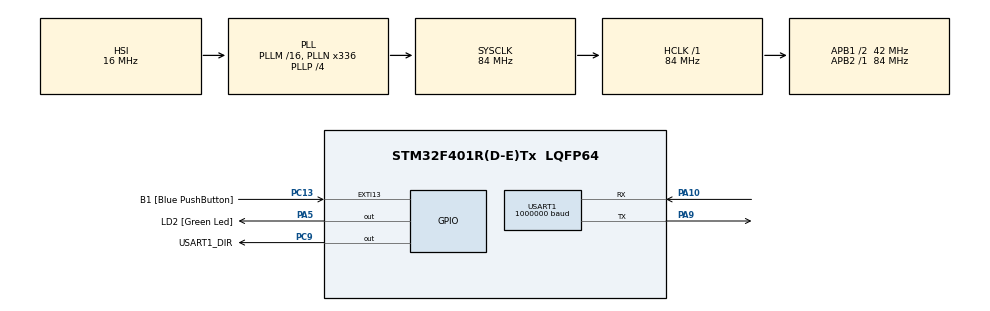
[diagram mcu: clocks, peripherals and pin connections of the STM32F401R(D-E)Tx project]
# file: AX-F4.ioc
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Mcu.Family=STM32F4
Mcu.Name=STM32F401R(D-E)Tx
Mcu.Package=LQFP64
NVIC.PriorityGroup=NVIC_PRIORITYGROUP_0
PA10.Mode=Asynchronous
PA10.Signal=USART1_RX
PA13.GPIO_Label=TMS
PA13.Signal=SYS_JTMS-SWDIO
PA14.GPIO_Label=TCK
PA14.Signal=SYS_JTCK-SWCLK
PA2.GPIO_Label=USART_TX
PA2.GPIO_Mode=GPIO_MODE_AF_PP
PA2.GPIO_PuPd=GPIO_NOPULL
PA2.GPIO_Speed=GPIO_SPEED_FREQ_LOW
PA2.Signal=USART2_TX
PA3.GPIO_Label=USART_RX
PA3.GPIO_Mode=GPIO_MODE_AF_PP
PA3.GPIO_PuPd=GPIO_NOPULL
PA3.GPIO_Speed=GPIO_SPEED_FREQ_LOW
PA3.Signal=USART2_RX
PA5.GPIO_Label=LD2 [Green Led]
PA5.GPIO_Mode=GPIO_MODE_OUTPUT_PP
PA5.GPIO_PuPd=GPIO_NOPULL
PA5.GPIO_Speed=GPIO_SPEED_FREQ_LOW
PA5.Signal=GPIO_Output
PA9.Mode=Asynchronous
PA9.Signal=USART1_TX
PB3.GPIO_Label=SWO
PB3.Signal=SYS_JTDO-SWO
PC13-ANTI_TAMP.GPIO_Label=B1 [Blue PushButton]
PC13-ANTI_TAMP.GPIO_ModeDefaultEXTI=GPIO_MODE_IT_FALLING
PC13-ANTI_TAMP.GPIO_PuPd=GPIO_NOPULL
PC13-ANTI_TAMP.Signal=GPXTI13
PC14-OSC32_IN.Signal=RCC_OSC32_IN
PC15-OSC32_OUT.Signal=RCC_OSC32_OUT
PC9.GPIO_Label=USART1_DIR
PC9.Signal=GPIO_Output
PH0\ -\ OSC_IN.Signal=RCC_OSC_IN
PH1\ -\ OSC_OUT.Signal=RCC_OSC_OUT
ProjectManager.HeapSize=0x200
ProjectManager.StackSize=0x400
ProjectManager.TargetToolchain=Makefile
RCC.AHBFreq_Value=84000000
RCC.APB1CLKDivider=RCC_HCLK_DIV2
RCC.APB1Freq_Value=42000000
RCC.APB1TimFreq_Value=84000000
RCC.APB2Freq_Value=84000000
RCC.APB2TimFreq_Value=84000000
RCC.CortexFreq_Value=84000000
RCC.HCLKFreq_Value=84000000
RCC.HSE_VALUE=8000000
RCC.HSI_VALUE=16000000
RCC.LSE_VALUE=32768
RCC.PLLN=336
RCC.PLLP=RCC_PLLP_DIV4
RCC.PLLQ=7
RCC.SYSCLKFreq_VALUE=84000000
RCC.SYSCLKSource=RCC_SYSCLKSOURCE_PLLCLK
RCC.VCOOutputFreq_Value=336000000
USART1.BaudRate=1000000
USART1.VirtualMode=VM_ASYNC
board=NUCLEO-F401RE

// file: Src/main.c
/**
  ******************************************************************************
  * File Name          : main.c
  * Description        : Main program body
  ******************************************************************************
  ** This notice applies to any and all portions of this file
  * that are not between comment pairs USER CODE BEGIN and
  * USER CODE END. Other portions of this file, whether
  * inserted by the user or by software development tools
  * are owned by their respective copyright owners.
  *
  * COPYRIGHT(c) 2017 STMicroelectronics
  *
  * Redistribution and use in source and binary forms, with or without modification,
  * are permitted provided that the following conditions are met:
  *   1. Redistributions of source code must retain the above copyright notice,
  *      this list of conditions and the following disclaimer.
  *   2. Redistributions in binary form must reproduce the above copyright notice,
  *      this list of conditions and the following disclaimer in the documentation
  *      and/or other materials provided with the distribution.
  *   3. Neither the name of STMicroelectronics nor the names of its contributors
  *      may be used to endorse or promote products derived from this software
  *      without specific prior written permission.
  *
  * THIS SOFTWARE IS PROVIDED BY THE COPYRIGHT HOLDERS AND CONTRIBUTORS "AS IS"
  * AND ANY EXPRESS OR IMPLIED WARRANTIES, INCLUDING, BUT NOT LIMITED TO, THE
  * IMPLIED WARRANTIES OF MERCHANTABILITY AND FITNESS FOR A PARTICULAR PURPOSE ARE
  * DISCLAIMED. IN NO EVENT SHALL THE COPYRIGHT HOLDER OR CONTRIBUTORS BE LIABLE
  * FOR ANY DIRECT, INDIRECT, INCIDENTAL, SPECIAL, EXEMPLARY, OR CONSEQUENTIAL
  * DAMAGES (INCLUDING, BUT NOT LIMITED TO, PROCUREMENT OF SUBSTITUTE GOODS OR
  * SERVICES; LOSS OF USE, DATA, OR PROFITS; OR BUSINESS INTERRUPTION) HOWEVER
  * CAUSED AND ON ANY THEORY OF LIABILITY, WHETHER IN CONTRACT, STRICT LIABILITY,
  * OR TORT (INCLUDING NEGLIGENCE OR OTHERWISE) ARISING IN ANY WAY OUT OF THE USE
  * OF THIS SOFTWARE, EVEN IF ADVISED OF THE POSSIBILITY OF SUCH DAMAGE.
  *
  ******************************************************************************
  */

#include "main.h"
#include "stm32f4xx_hal.h"

/* USER CODE BEGIN Includes */
#include "ax_12a.h"
/* USER CODE END Includes */

UART_HandleTypeDef huart1;

/* USER CODE BEGIN PV */
/* Private variables ---------------------------------------------------------*/

/* USER CODE END PV */

void SystemClock_Config(void);
static void MX_GPIO_Init(void);
static void MX_USART1_UART_Init(void);

/* USER CODE BEGIN PFP */
/* Private function prototypes -----------------------------------------------*/

/* USER CODE END PFP */

/* USER CODE BEGIN 0 */
AX_Interface interface;

uint8_t AX_Receive_HAL(uint8_t *buffer, uint16_t size, uint32_t timeout){
  HAL_StatusTypeDef status = HAL_UART_Receive(&huart1, buffer, size, timeout);
  return (status==HAL_OK)?0:1;
}

uint8_t AX_Send_HAL(uint8_t *data, uint16_t size, uint32_t timeout){
  HAL_StatusTypeDef status = HAL_UART_Transmit(&huart1, data, size, timeout);
  return (status==HAL_OK)?0:1;
}

void AX_Set_Direction_HAL(AX_Direction dir){
  HAL_GPIO_WritePin(USART1_DIR_GPIO_Port, USART1_DIR_Pin, (dir==AX_SEND)?GPIO_PIN_SET:GPIO_PIN_RESET);
}

void AX_Delay_HAL(uint32_t t){
  HAL_Delay(t);
}

/* USER CODE END 0 */

int main(void)
{

  /* MCU Configuration----------------------------------------------------------*/

  /* Reset of all peripherals, Initializes the Flash interface and the Systick. */
  HAL_Init();

  /* Configure the system clock */
  SystemClock_Config();

  /* Initialize all configured peripherals */
  MX_GPIO_Init();
  MX_USART1_UART_Init();

  /* USER CODE BEGIN 2 */
  interface.receive = AX_Receive_HAL;
  interface.send = AX_Send_HAL;
  interface.set_direction = AX_Set_Direction_HAL;
  interface.delay = AX_Delay_HAL;

  HAL_Delay(1000);

  AX servo = {.id = 1, .interface = &interface};
  //AX_Power_On(&servo, AX_NOW);

  AX_Say_Hello(&servo);
  uint16_t temp;
  AX_Get_Current_Temperature(&servo, &temp);
  //AX_Configure_Angle_Limit(&servo, 0, 1023);
  HAL_Delay(1000);
  AX_Power_Off(&servo, AX_NOW);
  /* USER CODE END 2 */

  /* Infinite loop */
  while (1)
  {
    /*AX_Set_Goal_Position(&servo, 1023, AX_NOW);
    HAL_Delay(2000);
    AX_Set_Goal_Position(&servo, 0, AX_NOW);
    HAL_Delay(2000);*/
  }

}

/** System Clock Configuration
*/
void SystemClock_Config(void)
{

  RCC_OscInitTypeDef RCC_OscInitStruct;
  RCC_ClkInitTypeDef RCC_ClkInitStruct;

    /**Configure the main internal regulator output voltage
    */
  __HAL_RCC_PWR_CLK_ENABLE();

  __HAL_PWR_VOLTAGESCALING_CONFIG(PWR_REGULATOR_VOLTAGE_SCALE2);

    /**Initializes the CPU, AHB and APB busses clocks
    */
  RCC_OscInitStruct.OscillatorType = RCC_OSCILLATORTYPE_HSI;
  RCC_OscInitStruct.HSIState = RCC_HSI_ON;
  RCC_OscInitStruct.HSICalibrationValue = 16;
  RCC_OscInitStruct.PLL.PLLState = RCC_PLL_ON;
  RCC_OscInitStruct.PLL.PLLSource = RCC_PLLSOURCE_HSI;
  RCC_OscInitStruct.PLL.PLLM = 16;
  RCC_OscInitStruct.PLL.PLLN = 336;
  RCC_OscInitStruct.PLL.PLLP = RCC_PLLP_DIV4;
  RCC_OscInitStruct.PLL.PLLQ = 7;
  if (HAL_RCC_OscConfig(&RCC_OscInitStruct) != HAL_OK)
  {
    _Error_Handler(__FILE__, __LINE__);
  }

    /**Initializes the CPU, AHB and APB busses clocks
    */
  RCC_ClkInitStruct.ClockType = RCC_CLOCKTYPE_HCLK|RCC_CLOCKTYPE_SYSCLK
                              |RCC_CLOCKTYPE_PCLK1|RCC_CLOCKTYPE_PCLK2;
  RCC_ClkInitStruct.SYSCLKSource = RCC_SYSCLKSOURCE_PLLCLK;
  RCC_ClkInitStruct.AHBCLKDivider = RCC_SYSCLK_DIV1;
  RCC_ClkInitStruct.APB1CLKDivider = RCC_HCLK_DIV2;
  RCC_ClkInitStruct.APB2CLKDivider = RCC_HCLK_DIV1;

  if (HAL_RCC_ClockConfig(&RCC_ClkInitStruct, FLASH_LATENCY_2) != HAL_OK)
  {
    _Error_Handler(__FILE__, __LINE__);
  }

    /**Configure the Systick interrupt time
    */
  HAL_SYSTICK_Config(HAL_RCC_GetHCLKFreq()/1000);

    /**Configure the Systick
    */
  HAL_SYSTICK_CLKSourceConfig(SYSTICK_CLKSOURCE_HCLK);

  /* SysTick_IRQn interrupt configuration */
  HAL_NVIC_SetPriority(SysTick_IRQn, 0, 0);
}

/* USART1 init function */
static void MX_USART1_UART_Init(void)
{

  huart1.Instance = USART1;
  huart1.Init.BaudRate = 1000000;
  huart1.Init.WordLength = UART_WORDLENGTH_8B;
  huart1.Init.StopBits = UART_STOPBITS_1;
  huart1.Init.Parity = UART_PARITY_NONE;
  huart1.Init.Mode = UART_MODE_TX_RX;
  huart1.Init.HwFlowCtl = UART_HWCONTROL_NONE;
  huart1.Init.OverSampling = UART_OVERSAMPLING_16;
  if (HAL_UART_Init(&huart1) != HAL_OK)
  {
    _Error_Handler(__FILE__, __LINE__);
  }

}

/** Configure pins as
        * Analog
        * Input
        * Output
        * EVENT_OUT
        * EXTI
        * Free pins are configured automatically as Analog (this feature is enabled through
        * the Code Generation settings)
     PA2   ------> USART2_TX
     PA3   ------> USART2_RX
*/
static void MX_GPIO_Init(void)
{

  GPIO_InitTypeDef GPIO_InitStruct;

  /* GPIO Ports Clock Enable */
  __HAL_RCC_GPIOC_CLK_ENABLE();
  __HAL_RCC_GPIOH_CLK_ENABLE();
  __HAL_RCC_GPIOA_CLK_ENABLE();
  __HAL_RCC_GPIOB_CLK_ENABLE();
  __HAL_RCC_GPIOD_CLK_ENABLE();

  /*Configure GPIO pin Output Level */
  HAL_GPIO_WritePin(LD2_GPIO_Port, LD2_Pin, GPIO_PIN_RESET);

  /*Configure GPIO pin Output Level */
  HAL_GPIO_WritePin(USART1_DIR_GPIO_Port, USART1_DIR_Pin, GPIO_PIN_RESET);

  /*Configure GPIO pin : B1_Pin */
  GPIO_InitStruct.Pin = B1_Pin;
  GPIO_InitStruct.Mode = GPIO_MODE_IT_FALLING;
  GPIO_InitStruct.Pull = GPIO_NOPULL;
  HAL_GPIO_Init(B1_GPIO_Port, &GPIO_InitStruct);

  /*Configure GPIO pins : PC0 PC1 PC2 PC3
                           PC4 PC5 PC6 PC7
                           PC8 PC10 PC11 PC12 */
  GPIO_InitStruct.Pin = GPIO_PIN_0|GPIO_PIN_1|GPIO_PIN_2|GPIO_PIN_3
                          |GPIO_PIN_4|GPIO_PIN_5|GPIO_PIN_6|GPIO_PIN_7
                          |GPIO_PIN_8|GPIO_PIN_10|GPIO_PIN_11|GPIO_PIN_12;
  GPIO_InitStruct.Mode = GPIO_MODE_ANALOG;
  GPIO_InitStruct.Pull = GPIO_NOPULL;
  HAL_GPIO_Init(GPIOC, &GPIO_InitStruct);

  /*Configure GPIO pins : PA0 PA1 PA4 PA6
                           PA7 PA8 PA11 PA12
                           PA15 */
  GPIO_InitStruct.Pin = GPIO_PIN_0|GPIO_PIN_1|GPIO_PIN_4|GPIO_PIN_6
                          |GPIO_PIN_7|GPIO_PIN_8|GPIO_PIN_11|GPIO_PIN_12
                          |GPIO_PIN_15;
  GPIO_InitStruct.Mode = GPIO_MODE_ANALOG;
  GPIO_InitStruct.Pull = GPIO_NOPULL;
  HAL_GPIO_Init(GPIOA, &GPIO_InitStruct);

  /*Configure GPIO pins : USART_TX_Pin USART_RX_Pin */
  GPIO_InitStruct.Pin = USART_TX_Pin|USART_RX_Pin;
  GPIO_InitStruct.Mode = GPIO_MODE_AF_PP;
  GPIO_InitStruct.Pull = GPIO_NOPULL;
  GPIO_InitStruct.Speed = GPIO_SPEED_FREQ_LOW;
  GPIO_InitStruct.Alternate = GPIO_AF7_USART2;
  HAL_GPIO_Init(GPIOA, &GPIO_InitStruct);

  /*Configure GPIO pin : LD2_Pin */
  GPIO_InitStruct.Pin = LD2_Pin;
  GPIO_InitStruct.Mode = GPIO_MODE_OUTPUT_PP;
  GPIO_InitStruct.Pull = GPIO_NOPULL;
  GPIO_InitStruct.Speed = GPIO_SPEED_FREQ_LOW;
  HAL_GPIO_Init(LD2_GPIO_Port, &GPIO_InitStruct);

  /*Configure GPIO pins : PB0 PB1 PB2 PB10
                           PB12 PB13 PB14 PB15
                           PB4 PB5 PB6 PB7
                           PB8 PB9 */
  GPIO_InitStruct.Pin = GPIO_PIN_0|GPIO_PIN_1|GPIO_PIN_2|GPIO_PIN_10
                          |GPIO_PIN_12|GPIO_PIN_13|GPIO_PIN_14|GPIO_PIN_15
                          |GPIO_PIN_4|GPIO_PIN_5|GPIO_PIN_6|GPIO_PIN_7
                          |GPIO_PIN_8|GPIO_PIN_9;
  GPIO_InitStruct.Mode = GPIO_MODE_ANALOG;
  GPIO_InitStruct.Pull = GPIO_NOPULL;
  HAL_GPIO_Init(GPIOB, &GPIO_InitStruct);

  /*Configure GPIO pin : USART1_DIR_Pin */
  GPIO_InitStruct.Pin = USART1_DIR_Pin;
  GPIO_InitStruct.Mode = GPIO_MODE_OUTPUT_PP;
  GPIO_InitStruct.Pull = GPIO_NOPULL;
  GPIO_InitStruct.Speed = GPIO_SPEED_FREQ_LOW;
  HAL_GPIO_Init(USART1_DIR_GPIO_Port, &GPIO_InitStruct);

  /*Configure GPIO pin : PD2 */
  GPIO_InitStruct.Pin = GPIO_PIN_2;
  GPIO_InitStruct.Mode = GPIO_MODE_ANALOG;
  GPIO_InitStruct.Pull = GPIO_NOPULL;
  HAL_GPIO_Init(GPIOD, &GPIO_InitStruct);

}

void _Error_Handler(char * file, int line)
{
  while(1)
  {
  }
}

/************************ (C) COPYRIGHT STMicroelectronics *****END OF FILE****/
